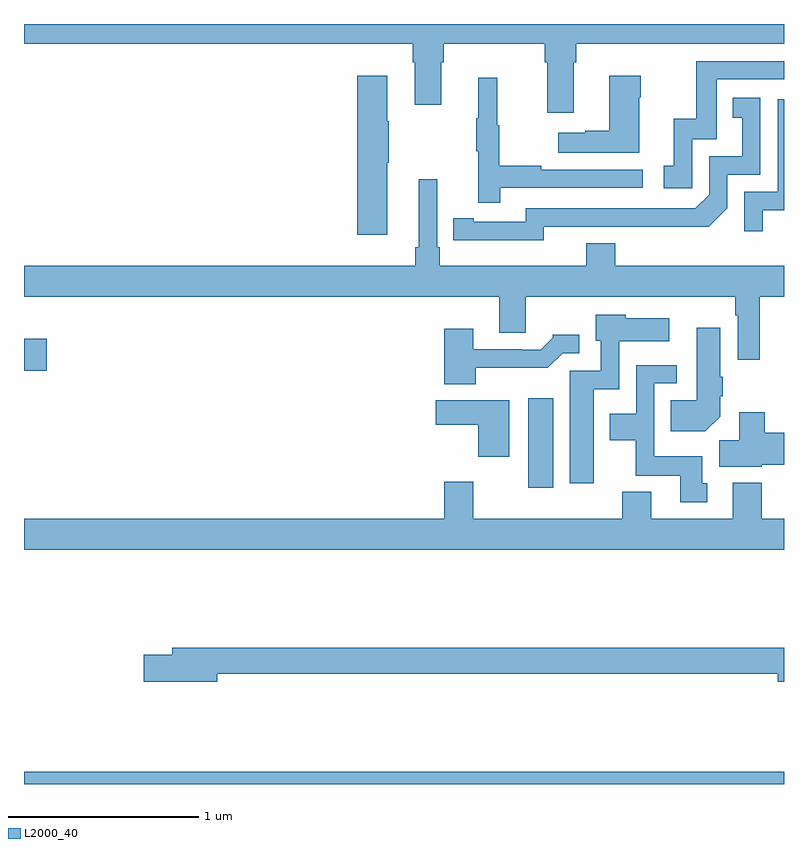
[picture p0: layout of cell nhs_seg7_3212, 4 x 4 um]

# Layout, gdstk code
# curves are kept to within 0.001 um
import gdstk
lib = gdstk.Library(unit=1e-6, precision=1e-09)
def R(c, l, rs):  # rectangles x0, y0, x1, y1
    for r in rs: c.add(gdstk.rectangle(r[:2], r[2:], *l))
def P(c, l, *ps):  # polygons
    for p in ps: c.add(gdstk.Polygon(p, *l))
L2000_40 = (2000, 40)

nhs_seg7_3212 = lib.new_cell('nhs_seg7_3212')
R(nhs_seg7_3212, L2000_40, [(315,1050,319,1050.064), (317.654,1051.56,317.785,1052.029), (315,1052.174,315.121,1052.344)])
P(nhs_seg7_3212, L2000_40, [(317.893,1053.8),(317.906,1053.8),(317.906,1053.896),(319,1053.896),(319,1054),(315,1054),(315,1053.896),(317.045,1053.896),(317.045,1053.8),(317.057,1053.8),(317.057,1053.576),(317.197,1053.576),(317.197,1053.8),(317.21,1053.8),(317.21,1053.896),(317.741,1053.896),(317.741,1053.8),(317.753,1053.8),(317.753,1053.534),(317.893,1053.534)],
  [(318.516,1053.393),(318.645,1053.393),(318.645,1053.708),(319,1053.708),(319,1053.804),(318.537,1053.804),(318.537,1053.502),(318.419,1053.502),(318.419,1053.255),(318.366,1053.255),(318.366,1053.135),(318.516,1053.135)],
  [(316.912,1053.271),(316.92,1053.271),(316.92,1053.488),(316.912,1053.488),(316.912,1053.727),(316.754,1053.727),(316.754,1052.892),(316.912,1052.892)],
  [(318.238,1053.614),(318.246,1053.614),(318.246,1053.727),(318.08,1053.727),(318.08,1053.437),(317.954,1053.437),(317.954,1053.427),(317.811,1053.427),(317.811,1053.323),(318.238,1053.323)],
  [(317.507,1053.138),(318.256,1053.138),(318.256,1053.234),(317.723,1053.234),(317.723,1053.254),(317.5,1053.254),(317.5,1053.468),(317.492,1053.468),(317.492,1053.718),(317.39,1053.718),(317.39,1053.505),(317.379,1053.505),(317.379,1053.331),(317.39,1053.331),(317.39,1053.06),(317.507,1053.06)],
  [(317.736,1052.934),(318.604,1052.933),(318.702,1053.03),(318.702,1053.207),(318.876,1053.207),(318.876,1053.613),(318.73,1053.613),(318.73,1053.507),(318.779,1053.507),(318.779,1053.303),(318.606,1053.303),(318.606,1053.102),(318.534,1053.03),(317.64,1053.03),(317.64,1052.958),(317.368,1052.958),(317.368,1052.978),(317.26,1052.978),(317.26,1052.862),(317.736,1052.861)],
  [(318.889,1053.021),(319,1053.021),(319,1053.603),(318.966,1053.603),(318.966,1053.117),(318.792,1053.117),(318.792,1052.91),(318.889,1052.91)],
  [(318.872,1052.564),(319,1052.564),(319,1052.728),(318.113,1052.728),(318.113,1052.845),(317.96,1052.845),(317.96,1052.728),(317.189,1052.728),(317.189,1052.824),(317.175,1052.824),(317.175,1053.184),(317.078,1053.184),(317.078,1052.824),(317.059,1052.824),(317.059,1052.728),(315,1052.728),(315,1052.564),(317.501,1052.564),(317.501,1052.374),(317.641,1052.374),(317.641,1052.564),(318.744,1052.564),(318.744,1052.468),(318.756,1052.468),(318.756,1052.232),(318.872,1052.232)],
  [(317.998,1052.078),(318.132,1052.078),(318.132,1052.33),(318.397,1052.33),(318.397,1052.452),(318.168,1052.452),(318.168,1052.47),(318.008,1052.47),(318.008,1052.334),(318.036,1052.334),(318.036,1052.175),(317.873,1052.175),(317.873,1051.584),(317.998,1051.584)],
  [(318.664,1051.934),(318.664,1052.041),(318.677,1052.041),(318.677,1052.144),(318.664,1052.144),(318.664,1052.401),(318.542,1052.401),(318.542,1052.02),(318.403,1052.02),(318.403,1051.856),(318.586,1051.856)],
  [(317.378,1052.19),(317.757,1052.19),(317.835,1052.268),(317.923,1052.268),(317.923,1052.365),(317.784,1052.365),(317.784,1052.35),(317.72,1052.286),(317.621,1052.286),(317.621,1052.289),(317.365,1052.289),(317.365,1052.395),(317.213,1052.395),(317.213,1052.105),(317.378,1052.105)],
  [(318.595,1051.584),(318.571,1051.584),(318.571,1051.726),(318.318,1051.726),(318.318,1052.109),(318.436,1052.109),(318.436,1052.205),(318.222,1052.205),(318.222,1051.948),(318.083,1051.948),(318.083,1051.808),(318.22,1051.808),(318.22,1051.622),(318.455,1051.622),(318.455,1051.482),(318.595,1051.482)],
  [(317.554,1052.02),(317.166,1052.02),(317.166,1051.891),(317.39,1051.891),(317.39,1051.722),(317.554,1051.722)],
  [(318.882,1051.679),(319,1051.679),(319,1051.85),(318.899,1051.85),(318.899,1051.957),(318.764,1051.957),(318.764,1051.808),(318.659,1051.808),(318.659,1051.67),(318.882,1051.67)],
  [(319,1051.396),(318.884,1051.396),(318.884,1051.585),(318.731,1051.585),(318.731,1051.396),(318.301,1051.396),(318.301,1051.537),(318.149,1051.537),(318.149,1051.396),(317.365,1051.396),(317.365,1051.591),(317.213,1051.591),(317.213,1051.396),(315,1051.396),(315,1051.232),(319,1051.232)],
  [(316.018,1050.58),(318.968,1050.58),(318.968,1050.538),(319,1050.538),(319,1050.716),(315.779,1050.716),(315.779,1050.68),(315.63,1050.68),(315.63,1050.538),(316.018,1050.538)])

lib.write_gds('nhs_seg7_3212.gds')
